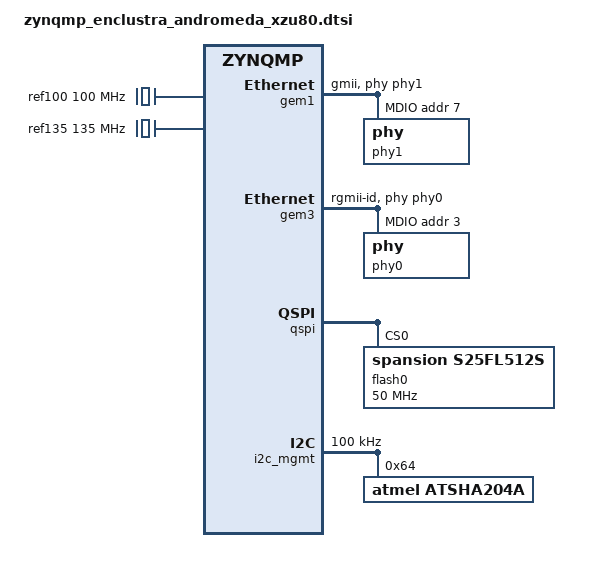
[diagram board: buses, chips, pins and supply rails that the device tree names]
/ {
	aliases {
		ethernet0 = &gem1;
		ethernet1 = &gem3;
		i2c0 = &i2c_mgmt;
		i2c1 = &i2c_user;
		serial0 = &uart0;
		spi0 = &qspi;
	};
};

&gem1 {
	/delete-property/ local-mac-address;
	phy-mode = "gmii";
	phy-handle = <&phy1>;
	mdio {
		// KSZ9031
		phy1: phy@7 {
			reg = <7>;

			// 0 ns TX clock delay
			txc-skew-ps = <900>;
			txen-skew-ps = <420>;

			txd0-skew-ps = <420>;
			txd1-skew-ps = <420>;
			txd2-skew-ps = <420>;
			txd3-skew-ps = <420>;

			// -0.18 ns TX clock delay
			rxc-skew-ps = <0>;
			rxdv-skew-ps = <900>;

			rxd0-skew-ps = <900>;
			rxd1-skew-ps = <900>;
			rxd2-skew-ps = <900>;
			rxd3-skew-ps = <900>;
		};
	};
};

&gem3 {
	/delete-property/ local-mac-address;
	phy-handle = <&phy0>;
	phy-mode = "rgmii-id";
	mdio {
		// KSZ9031
		phy0: phy@3 {
			reg = <3>;

			// 0.9 ns TX clock delay
			txc-skew-ps = <1800>;
			txen-skew-ps = <420>;

			txd0-skew-ps = <420>;
			txd1-skew-ps = <420>;
			txd2-skew-ps = <420>;
			txd3-skew-ps = <420>;

			// 1.2 ns RX clock delay
			rxc-skew-ps = <900>;
			rxdv-skew-ps = <420>;

			rxd0-skew-ps = <420>;
			rxd1-skew-ps = <420>;
			rxd2-skew-ps = <420>;
			rxd3-skew-ps = <420>;
		};
	};
};

&qspi {
	#address-cells = <1>;
	#size-cells = <0>;
	is-dual = <1>;
	num-cs = <2>;
	flash0: flash@0 {
		reg = <0x0>;
		compatible = "spansion,s25fl512s", "jedec,spi-nor";
		parallel-memories = /bits/ 64 <0x4000000 0x4000000>; /* 128MB */
		spi-rx-bus-width = <0x4>;
		spi-tx-bus-width = <0x4>;
		spi-max-frequency = <50000000>;
		#address-cells = <1>;
		#size-cells = <1>;
	};
};

&psgtr {
	clocks = <&ref100>, <&ref135>;
	clock-names = "ref2", "ref3";
};

&amba {
	ref100: ref100M {
		compatible = "fixed-clock";
		#clock-cells = <0>;
		clock-frequency = <100000000>;
	};
	ref135: ref135M {
		compatible = "fixed-clock";
		#clock-cells = <0>;
		clock-frequency = <135000000>;
	};
	i2c_mgmt: i2c@ff020000 {
		clock-frequency = <100000>;
		atsha204a@64 {
			status = "okay";
			compatible = "atmel,atsha204a", "atmel,atsha204-i2c";
			reg = <0x64>;
		};
	};
	i2c_user: i2c@ff030000 {
		clock-frequency = <100000>;
	};
};
